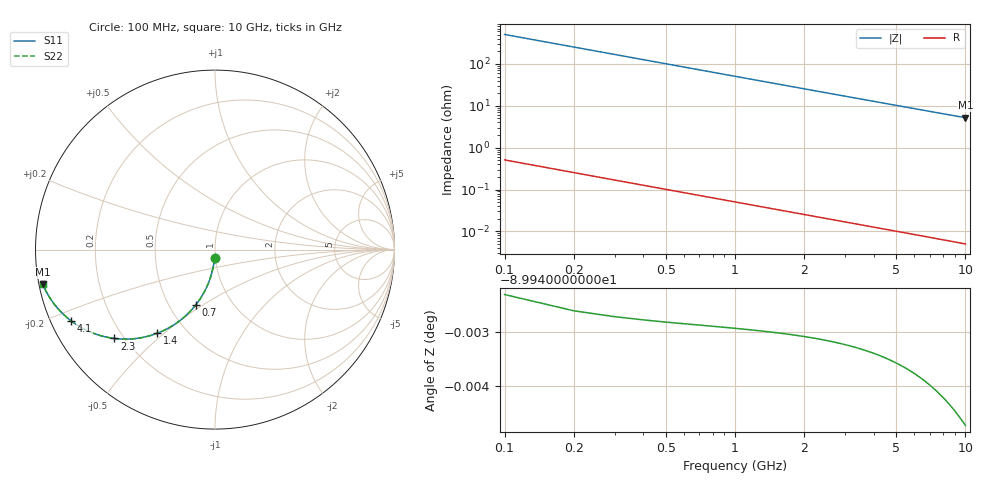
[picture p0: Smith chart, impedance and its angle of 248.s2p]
# Hz S RI R 50.00
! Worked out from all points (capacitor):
!   100 points, 100 MHz to 10 GHz, reference 50 ohm
!   read as one part in shunt: C = 3.14 pF near 100 MHz
!   lowest |Z| = 5.2 ohm at 10 GHz (marker M1)
!   S11 on the Smith chart (normalised r, x): 100 MHz: 0.99, -0.10; 700 MHz: 0.68, -0.47; 1.4 GHz: 0.35, -0.47; 2.3 GHz: 0.16, -0.37; 4.1 GHz: 0.06, -0.23; 10 GHz: 0.01, -0.10
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1e8  -0.00247 -0.0492  0.9975 -0.0493  0.9975 -0.0493  -0.00247 -0.0492
2e8  -0.00974 -0.0977  0.9902 -0.0978  0.9902 -0.0978  -0.00974 -0.0977
3e8  -0.0216 -0.1448  0.9784 -0.1449  0.9784 -0.1449  -0.0216 -0.1448
4e8  -0.0377 -0.1898  0.9623 -0.1901  0.9623 -0.1901  -0.0377 -0.1898
5e8  -0.0576 -0.2323  0.9424 -0.2326  0.9424 -0.2326  -0.0576 -0.2323
6e8  -0.0808 -0.2718  0.9192 -0.2722  0.9192 -0.2722  -0.0808 -0.2718
7e8  -0.1068 -0.3081  0.8932 -0.3085  0.8932 -0.3085  -0.1068 -0.3081
8e8  -0.1349 -0.3409  0.8651 -0.3414  0.8651 -0.3414  -0.1349 -0.3409
1e9  -0.1957 -0.396  0.8043 -0.3966  0.8043 -0.3966  -0.1957 -0.396
1.2e9  -0.2592 -0.4374  0.7408 -0.4381  0.7408 -0.4381  -0.2592 -0.4374
1.4e9  -0.3223 -0.4665  0.6776 -0.4673  0.6776 -0.4673  -0.3223 -0.4665
1.6e9  -0.3829 -0.4851  0.6171 -0.4861  0.6171 -0.4861  -0.3829 -0.4851
1.8e9  -0.4396 -0.4953  0.5604 -0.4964  0.5604 -0.4964  -0.4396 -0.4953
2.3e9  -0.5608 -0.4951  0.4392 -0.4965  0.4392 -0.4965  -0.5608 -0.4951
2.8e9  -0.6536 -0.4745  0.3463 -0.4762  0.3463 -0.4762  -0.6536 -0.4745
3.4e9  -0.7351 -0.4398  0.2649 -0.4418  0.2649 -0.4418  -0.7351 -0.4398
4.1e9  -0.8009 -0.3976  0.1991 -0.4001  0.1991 -0.4001  -0.8009 -0.3976
5.1e9  -0.8612 -0.3437  0.1388 -0.3468  0.1388 -0.3468  -0.8612 -0.3437
5.8e9  -0.889 -0.3119  0.111 -0.3154  0.111 -0.3154  -0.889 -0.3119
6.7e9  -0.9143 -0.2774  0.0857 -0.2815  0.0857 -0.2815  -0.9143 -0.2774
8.4e9  -0.9436 -0.2276  0.0564 -0.2328  0.0564 -0.2328  -0.9436 -0.2276
1e10  -0.9595 -0.1935  0.0405 -0.1997  0.0405 -0.1997  -0.9595 -0.1935
